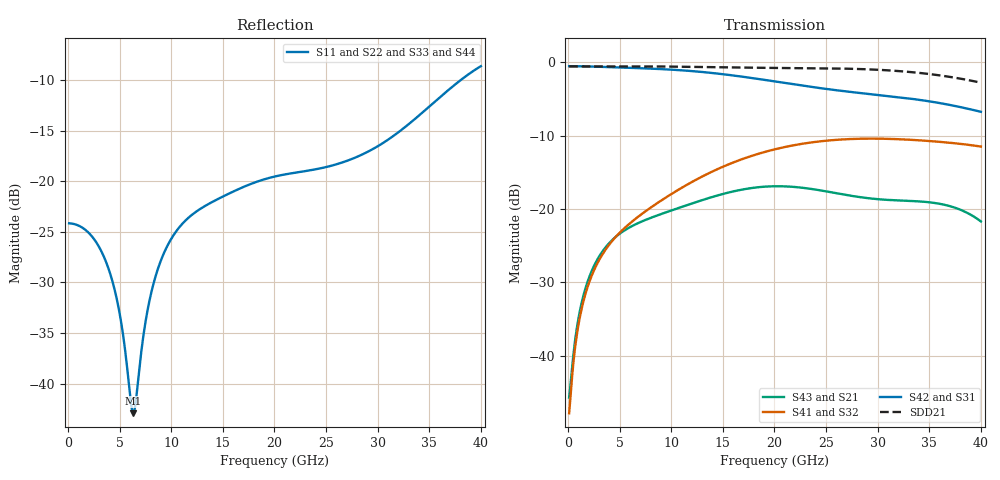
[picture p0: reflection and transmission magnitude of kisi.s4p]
! E_s8_L1L8_p1200_round_g2: pair L1→L8, pitch 1.2 mm, two round antipads, 2 GND vias
! stackup: 8-layer 1.6 mm FR-4 (generic)
! ports: 1 P near, 2 N near, 3 P far, 4 N far
! kisi-fdtd, conformal, dfine 0.035 mm, 790920 cells
# Hz S RI R 50
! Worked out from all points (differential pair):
!   400 points, 100 MHz to 40 GHz, reference 50 ohm
!   strongest paths, dB at 100 MHz, 10.1 GHz, 20.1 GHz, 30.1 GHz, 40 GHz:
!     S42: -0.6, -1.0, -2.7, -4.5, -6.8
!     S31: -0.6, -1.0, -2.7, -4.5, -6.8
!     S41: -47.8, -17.9, -11.9, -10.4, -11.5
!     S32: -47.8, -17.9, -11.9, -10.4, -11.5
!     S43: -45.7, -20.2, -16.9, -18.7, -21.7
!     S21: -45.7, -20.2, -16.9, -18.7, -21.7
!   taken as a pair (ports 2,1 in; 4,3 out), SDD21 dB: -0.6, -0.6, -0.8, -1.1, -2.8
!   lowest |S11| = -42.9 dB at 6.3 GHz (marker M1), VSWR 1.01, Z = 49.4 + j0.446 ohm
!   |S11| at or under -10 dB: start of sweep to 38.06 GHz
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1e8  -0.0619 0.00182  -0.00482 0.00197  0.9365 -0.0362  0.00366 -0.00176
     -0.00482 0.00197  -0.0619 0.00182  0.00366 -0.00176  0.9365 -0.0362
     0.9365 -0.0362  0.00366 -0.00176  -0.0619 0.00182  -0.00482 0.00197
     0.00366 -0.00176  0.9365 -0.0362  -0.00482 0.00197  -0.0619 0.00182
6.3e9  -0.00553 0.00451  0.035 -0.0688  -0.6828 -0.6039  -0.0385 0.0737
       0.035 -0.0688  -0.00553 0.00451  -0.0385 0.0737  -0.6828 -0.6039
       -0.6828 -0.6039  -0.0385 0.0737  -0.00553 0.00451  0.035 -0.0688
       -0.0385 0.0737  -0.6828 -0.6039  0.035 -0.0688  -0.00553 0.00451
1.17e10  -0.0142 0.0647  -0.1066 0.0121  -0.1912 0.8498  0.148 -0.0135
         -0.1066 0.0121  -0.0142 0.0647  0.148 -0.0135  -0.1912 0.8498
         -0.1912 0.8498  0.148 -0.0135  -0.0142 0.0647  -0.1066 0.0121
         0.148 -0.0135  -0.1912 0.8498  -0.1066 0.0121  -0.0142 0.0647
1.62e10  0.0889 -0.0134  0.0473 0.1239  0.8052 0.0512  -0.0793 -0.1942
         0.0473 0.1239  0.0889 -0.0134  -0.0793 -0.1942  0.8052 0.0512
         0.8052 0.0512  -0.0793 -0.1942  0.0889 -0.0134  0.0473 0.1239
         -0.0793 -0.1942  0.8052 0.0512  0.0473 0.1239  0.0889 -0.0134
2.4e10  -0.1034 -0.0494  -0.0472 -0.1269  -0.6458 -0.1812  0.1596 0.2376
        -0.0472 -0.1269  -0.1034 -0.0494  0.1596 0.2376  -0.6458 -0.1812
        -0.6458 -0.1812  0.1596 0.2376  -0.1034 -0.0494  -0.0472 -0.1269
        0.1596 0.2376  -0.6458 -0.1812  -0.0472 -0.1269  -0.1034 -0.0494
3.28e10  0.1139 0.1491  0.088 0.072  0.5631 0.071  -0.2793 -0.0999
         0.088 0.072  0.1139 0.1491  -0.2793 -0.0999  0.5631 0.071
         0.5631 0.071  -0.2793 -0.0999  0.1139 0.1491  0.088 0.072
         -0.2793 -0.0999  0.5631 0.071  0.088 0.072  0.1139 0.1491
4e10  0.05 -0.3666  -0.0667 -0.0482  -0.4017 -0.2209  0.244 0.1054
      -0.0667 -0.0482  0.05 -0.3666  0.244 0.1054  -0.4017 -0.2209
      -0.4017 -0.2209  0.244 0.1054  0.05 -0.3666  -0.0667 -0.0482
      0.244 0.1054  -0.4017 -0.2209  -0.0667 -0.0482  0.05 -0.3666
